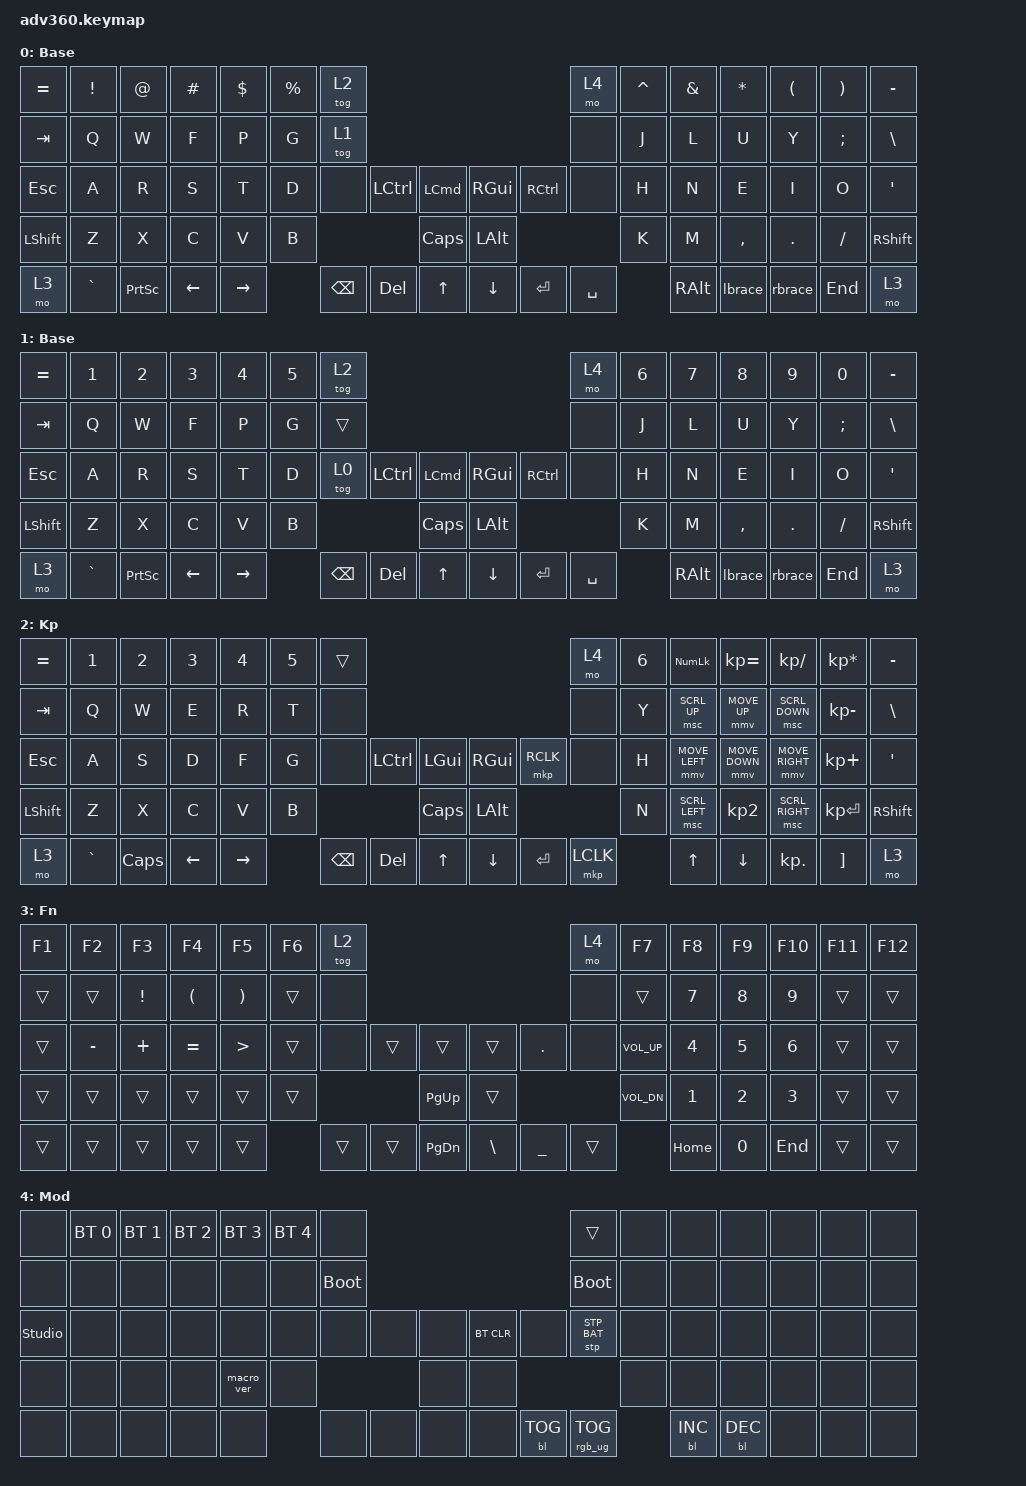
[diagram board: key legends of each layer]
#include <dt-bindings/zmk/stp.h>
#include <behaviors.dtsi>
#include <dt-bindings/zmk/backlight.h>
#include <dt-bindings/zmk/bt.h>
#include <dt-bindings/zmk/keys.h>
#include <dt-bindings/zmk/pointing.h>
#include <dt-bindings/zmk/rgb.h>

/ {
    behaviors {
        #include "macros.dtsi"
      #include "version.dtsi"

        hm: homerow_mods {
            compatible = "zmk,behavior-hold-tap";
            label = "HOMEROW_MODS";
            #binding-cells = <2>;
            tapping-term-ms = <200>;
            quick_tap_ms = <175>;
            flavor = "tap-preferred";
            bindings = <&kp>, <&kp>;
        };

        lbrace: lbrace {
            compatible = "zmk,behavior-mod-morph";
            label = "LBRACE";
            bindings = <&kp LEFT_BRACE>, <&kp LEFT_BRACKET>;

            #binding-cells = <0>;
            mods = <(MOD_LSFT|MOD_RSFT)>;
        };

        rbrace: rbrace {
            compatible = "zmk,behavior-mod-morph";
            label = "RBRACE";
            bindings = <&kp RIGHT_BRACE>, <&kp RIGHT_BRACKET>;

            #binding-cells = <0>;
            mods = <(MOD_LSFT|MOD_RSFT)>;
        };
    };

    keymap {
        compatible = "zmk,keymap";

        symb {
            display-name = "Base";
            bindings = <
&kp EQUAL  &kp EXCL   &kp AT           &kp POUND  &kp DLLR   &kp PRCNT  &tog 2                                                  &mo 4      &kp CARET  &kp AMPS  &kp ASTRK  &kp LPAR  &kp RPAR  &kp MINUS
&kp TAB    &kp Q      &kp W            &kp F      &kp P      &kp G      &tog 1                                                  &none      &kp J      &kp L     &kp U      &kp Y     &kp SEMI  &kp BSLH
&kp ESC    &kp A      &kp R            &kp S      &kp T      &kp D      &none     &kp LCTRL  &kp LCMD      &kp RGUI  &kp RCTRL  &none      &kp H      &kp N     &kp E      &kp I     &kp O     &kp APOS
&kp LSHFT  &kp Z      &kp X            &kp C      &kp V      &kp B                           &kp CAPS      &kp LALT                        &kp K      &kp M     &kp COMMA  &kp DOT   &kp FSLH  &kp RSHFT
&mo 3      &kp GRAVE  &kp PRINTSCREEN  &kp LEFT   &kp RIGHT             &kp BSPC  &kp DEL    &kp UP        &kp DOWN  &kp ENTER  &kp SPACE             &kp RALT  &lbrace    &rbrace   &kp END   &mo 3
            >;
        };

        default_layer {
            display-name = "Base";
            bindings = <
&kp EQUAL  &kp N1     &kp N2           &kp N3    &kp N4     &kp N5  &tog 2                                                  &mo 4      &kp N6  &kp N7    &kp N8     &kp N9   &kp N0    &kp MINUS
&kp TAB    &kp Q      &kp W            &kp F     &kp P      &kp G   &trans                                                  &none      &kp J   &kp L     &kp U      &kp Y    &kp SEMI  &kp BSLH
&kp ESC    &kp A      &kp R            &kp S     &kp T      &kp D   &tog 0    &kp LCTRL  &kp LCMD      &kp RGUI  &kp RCTRL  &none      &kp H   &kp N     &kp E      &kp I    &kp O     &kp APOS
&kp LSHFT  &kp Z      &kp X            &kp C     &kp V      &kp B                        &kp CAPS      &kp LALT                        &kp K   &kp M     &kp COMMA  &kp DOT  &kp FSLH  &kp RSHFT
&mo 3      &kp GRAVE  &kp PRINTSCREEN  &kp LEFT  &kp RIGHT          &kp BSPC  &kp DEL    &kp UP        &kp DOWN  &kp ENTER  &kp SPACE          &kp RALT  &lbrace    &rbrace  &kp END   &mo 3
            >;
        };

        keypad {
            display-name = "Kp";
            bindings = <
&kp EQUAL  &kp N1     &kp N2    &kp N3    &kp N4     &kp N5  &trans                                                            &mo 4      &kp N6  &kp KP_NUM      &kp KP_EQUAL    &kp KP_DIVIDE    &kp KP_MULTIPLY  &kp MINUS
&kp TAB    &kp Q      &kp W     &kp E     &kp R      &kp T   &none                                                             &none      &kp Y   &msc SCRL_UP    &mmv MOVE_UP    &msc SCRL_DOWN   &kp KP_MINUS     &kp BSLH
&kp ESC    &kp A      &kp S     &kp D     &kp F      &kp G   &none     &kp LCTRL  &kp LGUI          &kp RGUI        &mkp RCLK  &none      &kp H   &mmv MOVE_LEFT  &mmv MOVE_DOWN  &mmv MOVE_RIGHT  &kp KP_PLUS      &kp SQT
&kp LSHFT  &kp Z      &kp X     &kp C     &kp V      &kp B                        &kp CAPS          &kp LALT                              &kp N   &msc SCRL_LEFT  &kp KP_N2       &msc SCRL_RIGHT  &kp KP_ENTER     &kp RSHFT
&mo 3      &kp GRAVE  &kp CAPS  &kp LEFT  &kp RIGHT          &kp BSPC  &kp DEL    &kp UP_ARROW      &kp DOWN_ARROW  &kp ENTER  &mkp LCLK          &kp UP          &kp DOWN        &kp KP_DOT       &kp RBKT         &mo 3
            >;
        };

        fn {
            display-name = "Fn";
            bindings = <
&kp F1  &kp F2     &kp F3    &kp F4     &kp F5    &kp F6  &tog 2                                              &mo 4   &kp F7        &kp F8    &kp F9  &kp F10  &kp F11  &kp F12
&trans  &trans     &kp EXCL  &kp LPAR   &kp RPAR  &trans  &none                                               &none   &trans        &kp N7    &kp N8  &kp N9   &trans   &trans
&trans  &kp MINUS  &kp PLUS  &kp EQUAL  &kp GT    &trans  &none   &trans  &trans         &trans    &kp DOT    &none   &kp C_VOL_UP  &kp N4    &kp N5  &kp N6   &trans   &trans
&trans  &trans     &trans    &trans     &trans    &trans                  &kp PG_UP      &trans                       &kp C_VOL_DN  &kp N1    &kp N2  &kp N3   &trans   &trans
&trans  &trans     &trans    &trans     &trans            &trans  &trans  &kp PG_DN      &kp BSLH  &kp UNDER  &trans                &kp HOME  &kp N0  &kp END  &trans   &trans
            >;
        };

        mod {
            display-name = "Mod";
            bindings = <
&none           &bt BT_SEL 0  &bt BT_SEL 1  &bt BT_SEL 2  &bt BT_SEL 3  &bt BT_SEL 4  &none                                                  &trans           &none  &none       &none       &none  &none  &none
&none           &none         &none         &none         &none         &none         &bootloader                                            &bootloader      &none  &none       &none       &none  &none  &none
&studio_unlock  &none         &none         &none         &none         &none         &none        &none  &none      &bt BT_CLR  &none       &stp STP_BAT     &none  &none       &none       &none  &none  &none
&none           &none         &none         &none         &macro_ver    &none                             &none      &none                                    &none  &none       &none       &none  &none  &none
&none           &none         &none         &none         &none                       &none        &none  &none      &none       &bl BL_TOG  &rgb_ug RGB_TOG         &bl BL_INC  &bl BL_DEC  &none  &none  &none
            >;
        };

        extra1 {
            display-name = "Red";
            status = "reserved";
        };

        extra3 {
            display-name = "Cyan";
            status = "reserved";
        };

        extra2 {
            display-name = "Purple";
            status = "reserved";
        };
    };
};
